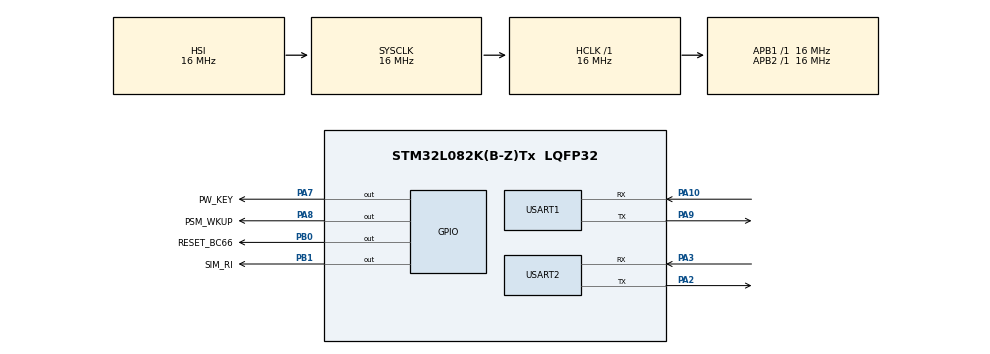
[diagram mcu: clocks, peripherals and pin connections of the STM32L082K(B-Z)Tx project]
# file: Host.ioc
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FREERTOS.Tasks01=BC66_Task,0,128,Start_BC66_Task,Default,NULL,Dynamic,NULL,NULL;UART_BC66,0,128,UART_BC66_Task,Default,NULL,Dynamic,NULL,NULL;UART_WinApp_Tas,0,128,StartUART_WinApp_Task,Default,NULL,Dynamic,NULL,NULL;GateKeeper,1,128,StartGateKeeper,Default,NULL,Dynamic,NULL,NULL
Mcu.Family=STM32L0
Mcu.Name=STM32L082K(B-Z)Tx
Mcu.Package=LQFP32
NVIC.RTC_IRQn=true\:3\:0\:false\:false\:true\:true\:true\:true
NVIC.TIM2_IRQn=true\:0\:0\:false\:false\:true\:false\:false\:true
NVIC.TimeBase=TIM2_IRQn
NVIC.TimeBaseIP=TIM2
NVIC.USART1_IRQn=true\:3\:0\:false\:false\:true\:true\:true\:true
NVIC.USART2_IRQn=true\:3\:0\:false\:false\:true\:true\:true\:true
PA10.Mode=Asynchronous
PA10.Signal=USART1_RX
PA13.Mode=Serial_Wire
PA13.Signal=SYS_SWDIO
PA14.Mode=Serial_Wire
PA14.Signal=SYS_SWCLK
PA2.Mode=Asynchronous
PA2.Signal=USART2_TX
PA3.Mode=Asynchronous
PA3.Signal=USART2_RX
PA7.GPIO_Label=PW_KEY
PA7.Signal=GPIO_Output
PA8.GPIO_Label=PSM_WKUP
PA8.Signal=GPIO_Output
PA9.Mode=Asynchronous
PA9.Signal=USART1_TX
PB0.GPIO_Label=RESET_BC66
PB0.Signal=GPIO_Output
PB1.GPIO_Label=SIM_RI
PB1.Signal=GPIO_Output
PC14-OSC32_IN.Mode=LSE-External-Oscillator
PC14-OSC32_IN.Signal=RCC_OSC32_IN
PC15-OSC32_OUT.Mode=LSE-External-Oscillator
PC15-OSC32_OUT.Signal=RCC_OSC32_OUT
ProjectManager.HeapSize=0x200
ProjectManager.StackSize=0x400
ProjectManager.TargetToolchain=EWARM V8.32
RCC.AHBFreq_Value=16000000
RCC.APB1Freq_Value=16000000
RCC.APB1TimFreq_Value=16000000
RCC.APB2Freq_Value=16000000
RCC.APB2TimFreq_Value=16000000
RCC.HCLKFreq_Value=16000000
RCC.HSI16_VALUE=16000000
RCC.HSI48_VALUE=48000000
RCC.HSI_VALUE=16000000
RCC.MSI_VALUE=2097000
RCC.SYSCLKFreq_VALUE=16000000
RCC.SYSCLKSource=RCC_SYSCLKSOURCE_HSI
RCC.VCOOutputFreq_Value=48000000
RTC.Alarm=RTC_ALARM_A
RTC.AlarmMaskDateWeekDay=RTC_ALARMMASK_DATEWEEKDAY
RTC.Format=RTC_FORMAT_BIN
RTC.Hours=10
RTC.Hours_A=10
RTC.Minutes=50
RTC.Minutes_A=50
RTC.Seconds_A=20
USART1.VirtualMode-Asynchronous=VM_ASYNC
USART2.VirtualMode-Asynchronous=VM_ASYNC
VP_FREERTOS_VS_CMSIS_V1.Mode=CMSIS_V1
VP_RTC_VS_RTC_Activate.Mode=RTC_Enabled
VP_RTC_VS_RTC_Alarm_A_Intern.Mode=Alarm A
VP_RTC_VS_RTC_Calendar.Mode=RTC_Calendar
VP_SYS_VS_tim2.Mode=TIM2
board=custom

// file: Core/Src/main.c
/* USER CODE BEGIN Header */
/**
  ******************************************************************************
  * @file           : main.c
  * @brief          : Main program body
  ******************************************************************************
  * @attention
  *
  * <h2><center>&copy; Copyright (c) 2022 STMicroelectronics.
  * All rights reserved.</center></h2>
  *
  * This software component is licensed by ST under Ultimate Liberty license
  * SLA0044, the "License"; You may not use this file except in compliance with
  * the License. You may obtain a copy of the License at:
  *                             www.st.com/SLA0044
  *
  ******************************************************************************
  */
/* USER CODE END Header */
#include "main.h"
#include "cmsis_os.h"
#include "rtc.h"
#include "usart.h"
#include "gpio.h"

/* USER CODE BEGIN Includes */
#include "bc66_cmd.h"
#include "bc66_uart.h"
#include "MQTTPacket.h"
#include "MQTTFormat.h"
#include "bc66_cmd.h"
#include "bc66_uart.h"
#include "MQTTConnect.h"
#include "MQTT.h"
#include "stdio.h"
#include "string.h"
#include "uartWinnApp.h"
/* USER CODE END Includes */

/* USER CODE BEGIN PV */
QueueHandle_t qPrintQueue;
QueueHandle_t qBC66step;
uint8_t start_string[] = "Staring...\r\n";
/* USER CODE END PV */

void SystemClock_Config(void);
void MX_FREERTOS_Init(void);

int main(void)
{

  /* MCU Configuration--------------------------------------------------------*/

  /* Reset of all peripherals, Initializes the Flash interface and the Systick. */
  HAL_Init();

  /* Configure the system clock */
  SystemClock_Config();

  /* Initialize all configured peripherals */
  MX_GPIO_Init();
  MX_USART1_UART_Init();
  MX_USART2_UART_Init();
  MX_RTC_Init();
  /* USER CODE BEGIN 2 */
  BC66_UART_Receive_Init();
  HAL_UART_Receive_IT (&uart_debug, (uint8_t*)&WinUart.data, 1); //enable receive interrupt
  BC66_UART_Send_Data_To_Terminal (start_string, strlen ((char*)"Staring...\r\n"));
  MQTT_Init_Connect();
  MQTT_Init_Pub_Opts();
  MQTT_Init_Sub_Opts();
  /* USER CODE END 2 */

  /* Call init function for freertos objects (in freertos.c) */
  MX_FREERTOS_Init();
  /* Start scheduler */
  osKernelStart();

  /* We should never get here as control is now taken by the scheduler */
  /* Infinite loop */
  while (1)
  {

  }
}

void SystemClock_Config(void)
{
  RCC_OscInitTypeDef RCC_OscInitStruct = {0};
  RCC_ClkInitTypeDef RCC_ClkInitStruct = {0};
  RCC_PeriphCLKInitTypeDef PeriphClkInit = {0};

  /** Configure the main internal regulator output voltage
  */
  __HAL_PWR_VOLTAGESCALING_CONFIG(PWR_REGULATOR_VOLTAGE_SCALE1);
  /** Initializes the RCC Oscillators according to the specified parameters
  * in the RCC_OscInitTypeDef structure.
  */
  RCC_OscInitStruct.OscillatorType = RCC_OSCILLATORTYPE_HSI|RCC_OSCILLATORTYPE_LSI;
  RCC_OscInitStruct.HSIState = RCC_HSI_ON;
  RCC_OscInitStruct.HSICalibrationValue = RCC_HSICALIBRATION_DEFAULT;
  RCC_OscInitStruct.LSIState = RCC_LSI_ON;
  RCC_OscInitStruct.PLL.PLLState = RCC_PLL_NONE;
  if (HAL_RCC_OscConfig(&RCC_OscInitStruct) != HAL_OK)
  {
    Error_Handler();
  }
  /** Initializes the CPU, AHB and APB buses clocks
  */
  RCC_ClkInitStruct.ClockType = RCC_CLOCKTYPE_HCLK|RCC_CLOCKTYPE_SYSCLK
                              |RCC_CLOCKTYPE_PCLK1|RCC_CLOCKTYPE_PCLK2;
  RCC_ClkInitStruct.SYSCLKSource = RCC_SYSCLKSOURCE_HSI;
  RCC_ClkInitStruct.AHBCLKDivider = RCC_SYSCLK_DIV1;
  RCC_ClkInitStruct.APB1CLKDivider = RCC_HCLK_DIV1;
  RCC_ClkInitStruct.APB2CLKDivider = RCC_HCLK_DIV1;

  if (HAL_RCC_ClockConfig(&RCC_ClkInitStruct, FLASH_LATENCY_0) != HAL_OK)
  {
    Error_Handler();
  }
  PeriphClkInit.PeriphClockSelection = RCC_PERIPHCLK_USART1|RCC_PERIPHCLK_USART2
                              |RCC_PERIPHCLK_RTC;
  PeriphClkInit.Usart1ClockSelection = RCC_USART1CLKSOURCE_PCLK2;
  PeriphClkInit.Usart2ClockSelection = RCC_USART2CLKSOURCE_PCLK1;
  PeriphClkInit.RTCClockSelection = RCC_RTCCLKSOURCE_LSI;
  if (HAL_RCCEx_PeriphCLKConfig(&PeriphClkInit) != HAL_OK)
  {
    Error_Handler();
  }
}

void HAL_TIM_PeriodElapsedCallback(TIM_HandleTypeDef *htim)
{
  if (htim->Instance == TIM2) {
    HAL_IncTick();
  }
}

void Error_Handler(void)
{
  __disable_irq();
  while (1)
  {
  }
}

/************************ (C) COPYRIGHT STMicroelectronics *****END OF FILE****/

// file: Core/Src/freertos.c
/* USER CODE BEGIN Header */
/**
  ******************************************************************************
  * File Name          : freertos.c
  * Description        : Code for freertos applications
  ******************************************************************************
  * @attention
  *
  * <h2><center>&copy; Copyright (c) 2022 STMicroelectronics.
  * All rights reserved.</center></h2>
  *
  * This software component is licensed by ST under Ultimate Liberty license
  * SLA0044, the "License"; You may not use this file except in compliance with
  * the License. You may obtain a copy of the License at:
  *                             www.st.com/SLA0044
  *
  ******************************************************************************
  */
/* USER CODE END Header */

#include "FreeRTOS.h"
#include "task.h"
#include "main.h"
#include "cmsis_os.h"

/* USER CODE BEGIN Includes */
#include "bc66_cmd.h"
#include "bc66_uart.h"
#include "MQTTPacket.h"
#include "MQTTFormat.h"
#include "bc66_cmd.h"
#include "bc66_uart.h"
#include "MQTTConnect.h"
#include "MQTT.h"
#include "stdio.h"
#include "string.h"
#include "uartWinnApp.h"
/* USER CODE END Includes */

/* USER CODE BEGIN Variables */
extern QueueHandle_t qBC66step;
extern QueueHandle_t qPrintQueue;
uint8_t ping_flag = OFF;
//uint8_t BC66send_flag = OFF;
//uint8_t BC
BaseType_t xStatus;
/* USER CODE END Variables */
osThreadId BC66_TaskHandle;
osThreadId UART_BC66Handle;
osThreadId UART_WinApp_TasHandle;
osThreadId GateKeeperHandle;

void Start_BC66_Task(void const * argument);
void UART_BC66_Task(void const * argument);
void StartUART_WinApp_Task(void const * argument);
void StartGateKeeper(void const * argument);

void MX_FREERTOS_Init(void); /* (MISRA C 2004 rule 8.1) */

/* GetIdleTaskMemory prototype (linked to static allocation support) */
void vApplicationGetIdleTaskMemory( StaticTask_t **ppxIdleTaskTCBBuffer, StackType_t **ppxIdleTaskStackBuffer, uint32_t *pulIdleTaskStackSize );

/* USER CODE BEGIN GET_IDLE_TASK_MEMORY */
static StaticTask_t xIdleTaskTCBBuffer;
static StackType_t xIdleStack[configMINIMAL_STACK_SIZE];

void vApplicationGetIdleTaskMemory( StaticTask_t **ppxIdleTaskTCBBuffer, StackType_t **ppxIdleTaskStackBuffer, uint32_t *pulIdleTaskStackSize )
{
  *ppxIdleTaskTCBBuffer = &xIdleTaskTCBBuffer;
  *ppxIdleTaskStackBuffer = &xIdleStack[0];
  *pulIdleTaskStackSize = configMINIMAL_STACK_SIZE;
  /* place for user code */
}
/* USER CODE END GET_IDLE_TASK_MEMORY */

void MX_FREERTOS_Init(void) {

  /* USER CODE BEGIN RTOS_QUEUES */
  /* add queues, ... */
   qBC66step = xQueueCreate (50, sizeof(uint8_t));
   qPrintQueue = xQueueCreate (5, sizeof(sType_string));
  /* USER CODE END RTOS_QUEUES */

  /* Create the thread(s) */
  /* definition and creation of BC66_Task */
  osThreadDef(BC66_Task, Start_BC66_Task, osPriorityNormal, 0, 128);
  BC66_TaskHandle = osThreadCreate(osThread(BC66_Task), NULL);

  /* definition and creation of UART_BC66 */
  osThreadDef(UART_BC66, UART_BC66_Task, osPriorityNormal, 0, 128);
  UART_BC66Handle = osThreadCreate(osThread(UART_BC66), NULL);

  /* definition and creation of UART_WinApp_Tas */
  osThreadDef(UART_WinApp_Tas, StartUART_WinApp_Task, osPriorityNormal, 0, 128);
  UART_WinApp_TasHandle = osThreadCreate(osThread(UART_WinApp_Tas), NULL);

  /* definition and creation of GateKeeper */
  osThreadDef(GateKeeper, StartGateKeeper, osPriorityAboveNormal, 0, 128);
  GateKeeperHandle = osThreadCreate(osThread(GateKeeper), NULL);

}

/* USER CODE BEGIN Header_Start_BC66_Task */
/**
  * @brief  Function implementing the BC66_Task thread.
  * @param  argument: Not used
  * @retval None
  */

int length_test = 0;
uint8_t  MQTT_process_result = 0;
uint8_t  test123 = 0;

uint8_t MQTT_test_pingreq_array[200] = {0x00};

uint32_t dem_gui = 0;
uint32_t gui_thanh_cong = 0;

uint8_t debug_send[200] = "So lan gui di:";

uint8_t event;
/* USER CODE END Header_Start_BC66_Task */
void Start_BC66_Task(void const * argument)
{
  /* USER CODE BEGIN Start_BC66_Task */
//  event = _PWR_ON_;
//  xQueueSendToBack( qBC66step, &event, 0 );
  dType_water_NB_IoT.dType_AT.ui8_pointer = _PWR_ON_;
  /* Infinite loop */
  for(;;)
  {
      BC66_Check_Reset();
//      xQueueReceive( qBC66step, &dType_water_NB_IoT.dType_AT.ui8_pointer, 0 );
      switch ( dType_water_NB_IoT.dType_AT.ui8_pointer )
      {
          case _PWR_ON_:
              BC66_Power_On();
              osDelay (5000);
              break;
          case _SYN_BAUDRATE_BC66_:
//              osDelay (10000);
              BC66_Initialize_AT_Commands_Handler ( _SYN_BAUDRATE_BC66_ , _CHECK_PIN_BC66_ );
              break;
          case _OFF_SLEEP_BC66_:
              BC66_Initialize_AT_Commands_Handler ( _OFF_SLEEP_BC66_ , _CHECK_PIN_BC66_ );
              break;
          case _CHECK_PIN_BC66_:
              BC66_Initialize_AT_Commands_Handler ( _CHECK_PIN_BC66_ , _SET_NB_BAND_BC66_ );
              break;
          case _SET_NB_BAND_BC66_:
              BC66_Initialize_AT_Commands_Handler ( _SET_NB_BAND_BC66_ , _CHECK_SIM_ATTACH_BC66_ );
              break;
          case _CHECK_SIM_ATTACH_BC66_:
              BC66_Initialize_AT_Commands_Handler ( _CHECK_SIM_ATTACH_BC66_ , _SET_PSD_CONECTION_ );
              break;
          case _SET_PSD_CONECTION_:
              BC66_Initialize_AT_Commands_Handler ( _SET_PSD_CONECTION_ , _FREE_LOCK_NB_FREQUENCY_ );
              break;
          case _FREE_LOCK_NB_FREQUENCY_:
              BC66_Initialize_AT_Commands_Handler ( _FREE_LOCK_NB_FREQUENCY_ , _ENABLE_WAKEUP_INDICATION_ );
              break;
          case _ENABLE_WAKEUP_INDICATION_:
              BC66_Initialize_AT_Commands_Handler ( _ENABLE_WAKEUP_INDICATION_ , _OFF_eDRX_ );
              break;
          case _OFF_eDRX_:
              BC66_Initialize_AT_Commands_Handler ( _OFF_eDRX_ , _SAVE_NVRAM_ );
              break;
          case _SAVE_NVRAM_:
              BC66_Initialize_AT_Commands_Handler ( _SAVE_NVRAM_ , _TCP_SET_DATA_TEXT_FORMAT_ );
              break;
          case _TCP_SET_DATA_TEXT_FORMAT_:
              BC66_Initialize_AT_Commands_Handler ( _TCP_SET_DATA_TEXT_FORMAT_ , _TCP_SET_VIEW_MODE_ );
              break;
          case _TCP_SET_VIEW_MODE_:
              BC66_Initialize_AT_Commands_Handler ( _TCP_SET_VIEW_MODE_ , _TCP_SET_SHOW_LENGTH_ );
              break;
          case _TCP_SET_SHOW_LENGTH_:
              BC66_Initialize_AT_Commands_Handler ( _TCP_SET_SHOW_LENGTH_ , _TCP_OPEN_1_ );
              break;
          case _TCP_OPEN_1_:
              BC66_Initialize_AT_Commands_Handler ( _TCP_OPEN_1_ , _TCP_OPEN_2_ );
              break;
          case _TCP_OPEN_2_:
              BC66_Initialize_AT_Commands_Handler ( _TCP_OPEN_2_ , _MQTT_OPEN_1_ );
              break;
          case _MQTT_OPEN_1_:
              BC66_Initialize_AT_Commands_Handler ( _MQTT_OPEN_1_ , _MQTT_OPEN_2_ );
              break;
          case _MQTT_OPEN_2_:
              BC66_Initialize_AT_Commands_Handler ( _MQTT_OPEN_2_ , _IDLE_ );
              break;
          case _MQTT_PUB_1_:
              BC66_Initialize_AT_Commands_Handler ( _MQTT_PUB_1_ , _MQTT_PUB_2_ );
              break;
          case _MQTT_PUB_2_:
              BC66_Initialize_AT_Commands_Handler ( _MQTT_PUB_2_ , _IDLE_ );
              break;
          case _MQTT_PINGREQ_1_:
              ping_flag = ON;
              BC66_Initialize_AT_Commands_Handler ( _MQTT_PINGREQ_1_ , _MQTT_PINGREQ_2_ );
              break;
          case _MQTT_PINGREQ_2_:
              BC66_Initialize_AT_Commands_Handler ( _MQTT_PINGREQ_2_ ,  _IDLE_ );
              break;
          case _MQTT_SUBSCRIBE_1_:
              BC66_Initialize_AT_Commands_Handler ( _MQTT_SUBSCRIBE_1_ , _MQTT_SUBSCRIBE_2_ );
              break;
          case _MQTT_SUBSCRIBE_2_:
              BC66_Initialize_AT_Commands_Handler ( _MQTT_SUBSCRIBE_2_ , _IDLE_ );
              break;
          case _TCP_CLOSE_:
              if ( BC66_Excute_AT_Cmd ( _TCP_CLOSE_ ) == BC66_RESP_OK )
              {
                  dType_MQTT_watermetter.ui8_start_keepalive = OFF;
                  // test send stable lap gui di gui lai
                  BC66_TCP_Close_Scan_And_Handler_Error ();
                  BC66_UART_Send_Data_To_Terminal ( (uint8_t*)"da vao TCP CLOSE\r\n" , strlen ( (char*)"da vao TCP CLOSE\r\n" ) );
              }
              else
                  dType_water_NB_IoT.dType_bc66_reset.ui8_fail_time++;
              break;
             /* PSM setting and operate zone*/
//			case _REQUEST_PSM_NETWORK_:
//				BC66_Initialize_AT_Commands_Handler ( _REQUEST_PSM_NETWORK_ , _CONFIG_SLEEP_MODE_ );
//				break;
//			case _CONFIG_SLEEP_MODE_:
//				BC66_Initialize_AT_Commands_Handler ( _CONFIG_SLEEP_MODE_ , _SETTING_PSM_ );
//			  break;
//			case _SETTING_PSM_:
//				BC66_Initialize_AT_Commands_Handler ( _SETTING_PSM_ , _CHECK_PSM_REGISTRATION_ );
//				break;
//			case _CHECK_PSM_REGISTRATION_:
//				BC66_Initialize_AT_Commands_Handler ( _CHECK_PSM_REGISTRATION_ , _MCU_LOW_PWR_ );
//				break;
//			case _MCU_LOW_PWR_:
//				Low_Power_Stop_Mode_Init();
//				break;
          case _IDLE_:
              break;
          }
      MQTT_Check_Keepalive_Time();
      osDelay(50);
  }
  /* USER CODE END Start_BC66_Task */
}

void UART_BC66_Task(void const * argument)
{
  /* USER CODE BEGIN UART_BC66_Task */
  uint32_t uart_mark_time = 0;
  uart_mark_time = ui32_tick_count;
  /* Infinite loop */
  for(;;)
  {
        if ( BC66_Check_Time_Out ( uart_mark_time , UART_CHECK_CYCLE ) == TRUE ) //xu ly uart: k bi miss du lieu -> <2 lan req tu ser
      {
          uart_mark_time = ui32_tick_count;
          dType_water_NB_IoT.dType_AT.ui8_result = NOT_MATCH;
          if ((BC66_UART_Check_Receive_Process_Status() == DONE) && (CountReceive_u16 !=0))
          {
              dType_water_NB_IoT.dType_AT.ui8_result = BC66_Check_AT_Response (dType_water_NB_IoT.dType_AT.ui8_pointer);
//              Push_BC66_Message_to_Queue();
                if (sub_flag == ON)
                  BC66_Check_MQTT_Receive();
//              BC66_UART_Clear_BC66_Data();
//              CountReceive_u16 = 0;
                Push_BC66_Message_to_Queue();
              /*----------------------------------------------*/
              // kiem tra va thuc hien cac tac vu URC gui ve
              if ( dType_water_NB_IoT.dType_bc66_reset.ui8_reset_rx_buf_flag == NO )
              {
//	                dType_water_NB_IoT.dType_AT.dType_tcp.ui8_ena_send = BC66_Check_Ready_To_Send_Data_TCP();
//		        dType_water_NB_IoT.dType_AT.dType_tcp.ui8_send_done = BC66_Check_Send_Data_Success_TCP();
//		        MQTT_Check_Packages_Result ();
              }
	      /*----------------------------------------------*/
	      else
              {
//                  BC66_Check_MQTT_Receive ();
//                  //BC66_UART_Send_Data_To_Terminal ( (uint8_t*)dType_water_NB_IoT.dType_bc66_receive.ui8buf_rx , CountReceive_u16 );
//                  Push_BC66_Message_to_Queue();
                  BC66_UART_Clear_BC66_Data();
                  CountReceive_u16 = 0;
              }
//			den_bao_hieu = COUNTINUE;
          }
      }
  }
  /* USER CODE END UART_BC66_Task */
}

void StartUART_WinApp_Task(void const * argument)
{
  /* USER CODE BEGIN StartUART_WinApp_Task */
  uint32_t Win_uart_mark_time = 0;
  Win_uart_mark_time = ui32_tick_count;
  /* Infinite loop */
  for(;;)
  {
      if ( WinApp_Check_Time_Out ( Win_uart_mark_time , UART_CHECK_CYCLE ) == TRUE ) //xu ly uart: k bi miss du lieu -> <2 lan req tu ser
      {
          Win_uart_mark_time = ui32_tick_count;
          if ((WinApp_UART_Check_Receive_Process_Status() == DONE) && (WinUart.numb_rec !=0))
          {
              WinApp_Handle_UART_Receive();
              WinApp_Reset();
          }
      }
    osDelay(10);
  }
  /* USER CODE END StartUART_WinApp_Task */
}

void StartGateKeeper(void const * argument)
{
  /* USER CODE BEGIN StartGateKeeper */
  sType_string pcMessageToPrint;
  /* Infinite loop */
  for(;;)
  {
    xQueueReceive( qPrintQueue, &pcMessageToPrint, portMAX_DELAY );
    UART_Send_Data_To_Terminal (&pcMessageToPrint);
    osDelay(1);
  }
  /* USER CODE END StartGateKeeper */
}

/************************ (C) COPYRIGHT STMicroelectronics *****END OF FILE****/
